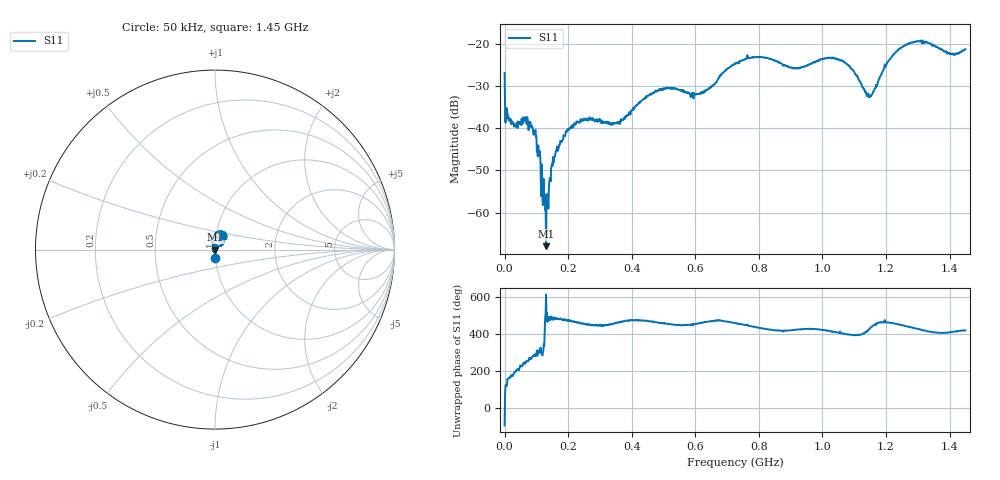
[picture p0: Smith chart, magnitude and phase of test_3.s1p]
! Created with skrf 1.11.0 (http://scikit-rf.org).
# Hz S RI R 50.0
!freq ReS11 ImS11
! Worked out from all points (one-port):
!   1001 points, 50 kHz to 1.45 GHz, reference 50 ohm
!   lowest |S11| = -68.0 dB at 130.5 MHz (marker M1), VSWR 1.00, Z = 50 - j0.0381 ohm
!   |S11| at or under -10 dB: start of sweep to end of sweep
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50000  -0.00209 -0.0454
8749700  -0.0135 0.00582
1.889935e7  -0.0127 0.00211
3.339885e7  -0.0103 -0.00327
6.529775e7  -0.00688 -0.0116
9.28468e7  0.00273 -0.00827
1.058964e8  0.00351 -0.0052
1.232958e8  0.00241 -0.00069
1.305455e8  -0.000119 -0.000381
1.377952e8  -0.000506 0.000991
1.537447e8  -0.00231 0.00315
1.812938e8  -0.00314 0.00636
2.465415e8  -0.00168 0.0122
3.625375e8  -0.00256 0.0109
4.538844e8  -0.00804 0.0234
5.437812e8  0.000362 0.029
6.220786e8  -0.0051 0.0263
7.25025e8  -0.00941 0.058
8.076722e8  0.0219 0.0665
9.062688e8  0.0254 0.0452
1.023715e9  0.039 0.0565
1.087512e9  0.0431 0.0312
1.15131e9  0.00666 0.0226
1.212208e9  -0.0124 0.0649
1.268756e9  0.0185 0.0988
1.328204e9  0.0583 0.0881
1.407951e9  0.0469 0.0594
1.45e9  0.0447 0.0748
